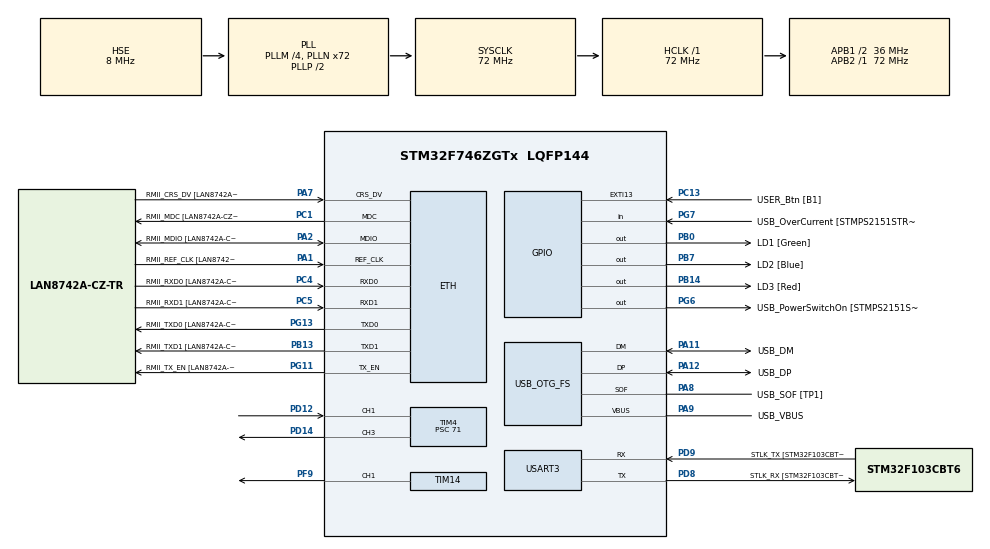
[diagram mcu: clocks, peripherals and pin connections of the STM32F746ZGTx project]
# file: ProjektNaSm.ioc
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ETH.MediaInterface=HAL_ETH_RMII_MODE
ETH.PHY_Name=LAN8742A_PHY_ADDRESS
ETH.PHY_Value=0
ETH.PhyAddress=0
Mcu.Family=STM32F7
Mcu.Name=STM32F746ZGTx
Mcu.Package=LQFP144
NVIC.PriorityGroup=NVIC_PRIORITYGROUP_4
NVIC.TIM4_IRQn=true\:0\:0\:false\:false\:true\:true\:true\:true
NVIC.TIM8_TRG_COM_TIM14_IRQn=true\:0\:0\:false\:false\:true\:true\:true\:true
NVIC.USART3_IRQn=true\:0\:0\:false\:false\:true\:true\:true\:true
PA1.GPIO_Label=RMII_REF_CLK [LAN8742A-CZ-TR_REFCLK0]
PA1.Mode=RMII
PA1.Signal=ETH_REF_CLK
PA10.GPIO_Label=USB_ID
PA10.Signal=USB_OTG_FS_ID
PA11.GPIO_Label=USB_DM
PA11.Mode=Device_Only
PA11.Signal=USB_OTG_FS_DM
PA12.GPIO_Label=USB_DP
PA12.Mode=Device_Only
PA12.Signal=USB_OTG_FS_DP
PA13.GPIO_Label=TMS
PA13.Mode=Serial_Wire
PA13.Signal=SYS_JTMS-SWDIO
PA14.GPIO_Label=TCK
PA14.Mode=Serial_Wire
PA14.Signal=SYS_JTCK-SWCLK
PA2.GPIO_Label=RMII_MDIO [LAN8742A-CZ-TR_MDIO]
PA2.Mode=RMII
PA2.Signal=ETH_MDIO
PA7.GPIO_Label=RMII_CRS_DV [LAN8742A-CZ-TR_CRS_DV]
PA7.Mode=RMII
PA7.Signal=ETH_CRS_DV
PA8.GPIO_Label=USB_SOF [TP1]
PA8.Mode=Activate_SOF_FS
PA8.Signal=USB_OTG_FS_SOF
PA9.GPIO_Label=USB_VBUS
PA9.Mode=Activate_VBUS
PA9.Signal=USB_OTG_FS_VBUS
PB0.GPIO_Label=LD1 [Green]
PB0.Signal=GPIO_Output
PB13.GPIO_Label=RMII_TXD1 [LAN8742A-CZ-TR_TXD1]
PB13.Mode=RMII
PB13.Signal=ETH_TXD1
PB14.GPIO_Label=LD3 [Red]
PB14.Signal=GPIO_Output
PB3.GPIO_Label=SW0
PB3.Signal=SYS_JTDO-SWO
PB7.GPIO_Label=LD2 [Blue]
PB7.Signal=GPIO_Output
PC1.GPIO_Label=RMII_MDC [LAN8742A-CZ-TR_MDC]
PC1.Mode=RMII
PC1.Signal=ETH_MDC
PC13.GPIO_Label=USER_Btn [B1]
PC13.Signal=GPXTI13
PC14/OSC32_IN.Mode=LSE-External-Oscillator
PC14/OSC32_IN.Signal=RCC_OSC32_IN
PC15/OSC32_OUT.Mode=LSE-External-Oscillator
PC15/OSC32_OUT.Signal=RCC_OSC32_OUT
PC4.GPIO_Label=RMII_RXD0 [LAN8742A-CZ-TR_RXD0]
PC4.Mode=RMII
PC4.Signal=ETH_RXD0
PC5.GPIO_Label=RMII_RXD1 [LAN8742A-CZ-TR_RXD1]
PC5.Mode=RMII
PC5.Signal=ETH_RXD1
PD12.Signal=S_TIM4_CH1
PD14.Signal=S_TIM4_CH3
PD8.GPIO_Label=STLK_RX [STM32F103CBT6_PA3]
PD8.GPIO_PuPd=GPIO_PULLUP
PD8.Mode=Asynchronous
PD8.Signal=USART3_TX
PD9.GPIO_Label=STLK_TX [STM32F103CBT6_PA2]
PD9.GPIO_PuPd=GPIO_PULLUP
PD9.Mode=Asynchronous
PD9.Signal=USART3_RX
PF9.Signal=S_TIM14_CH1
PG11.GPIO_Label=RMII_TX_EN [LAN8742A-CZ-TR_TXEN]
PG11.Mode=RMII
PG11.Signal=ETH_TX_EN
PG13.GPIO_Label=RMII_TXD0 [LAN8742A-CZ-TR_TXD0]
PG13.Mode=RMII
PG13.Signal=ETH_TXD0
PG6.GPIO_Label=USB_PowerSwitchOn [STMPS2151STR_EN]
PG6.Signal=GPIO_Output
PG7.GPIO_Label=USB_OverCurrent [STMPS2151STR_FAULT]
PG7.Signal=GPIO_Input
PH0/OSC_IN.GPIO_Label=MCO [STM32F103CBT6_PA8]
PH0/OSC_IN.Mode=HSE-External-Clock-Source
PH0/OSC_IN.Signal=RCC_OSC_IN
PH1/OSC_OUT.Mode=HSE-External-Clock-Source
PH1/OSC_OUT.Signal=RCC_OSC_OUT
ProjectManager.HeapSize=0x200
ProjectManager.StackSize=0x400
ProjectManager.TargetToolchain=STM32CubeIDE
RCC.48MHZClocksFreq_Value=24000000
RCC.AHBFreq_Value=72000000
RCC.APB1CLKDivider=RCC_HCLK_DIV2
RCC.APB1Freq_Value=36000000
RCC.APB1TimFreq_Value=72000000
RCC.APB2Freq_Value=72000000
RCC.APB2TimFreq_Value=72000000
RCC.CortexFreq_Value=72000000
RCC.HCLKFreq_Value=72000000
RCC.HSE_VALUE=8000000
RCC.HSI_VALUE=16000000
RCC.PLLM=4
RCC.PLLMUL=RCC_PLL_MUL9
RCC.PLLN=72
RCC.PLLQ=3
RCC.PRESCALERUSB=RCC_USBCLKSOURCE_PLL_DIV1_5
RCC.SYSCLKFreq_VALUE=72000000
RCC.SYSCLKSource=RCC_SYSCLKSOURCE_PLLCLK
RCC.SYSCLKSourceVirtual=RCC_SYSCLKSOURCE_PLLCLK
RCC.USBFreq_Value=48000000
RCC.VCOOutputFreq_Value=144000000
SH.S_TIM14_CH1.0=TIM14_CH1,PWM Generation1 CH1
SH.S_TIM4_CH1.0=TIM4_CH1,Input_Capture1_from_TI1
SH.S_TIM4_CH3.0=TIM4_CH3,PWM Generation3 CH3
TIM14.AutoReloadPreload=TIM_AUTORELOAD_PRELOAD_ENABLE
TIM14.Channel=TIM_CHANNEL_1
TIM14.Period=19999
TIM14.Prescaler=71
TIM4.Channel-Input_Capture1_from_TI1=TIM_CHANNEL_1
TIM4.Channel-Input_Capture2_from_TI1_63=TIM_CHANNEL_2
TIM4.Channel-PWM\ Generation3\ CH3=TIM_CHANNEL_3
TIM4.ICPolarity_CH1=TIM_INPUTCHANNELPOLARITY_RISING
TIM4.ICPolarity_CH2=TIM_INPUTCHANNELPOLARITY_FALLING
TIM4.Period=63999
TIM4.Prescaler=71
TIM4.Pulse-PWM\ Generation3\ CH3=4
USART3.VirtualMode-Asynchronous=VM_ASYNC
USB_OTG_FS.VirtualMode=Device_Only
VP_TIM14_VS_ClockSourceINT.Mode=Enable_Timer
VP_TIM4_VS_ClockSourceINT.Mode=Internal
VP_TIM4_VS_indirect_ch1.Mode=Input_Capture2_from_TI1_63
board=NUCLEO-F746ZG

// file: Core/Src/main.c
/* USER CODE BEGIN Header */
/**
  ******************************************************************************
  * @file           : main.c
  * @brief          : Main program body
  ******************************************************************************
  * @attention
  *
  * Copyright (c) 2023 STMicroelectronics.
  * All rights reserved.
  *
  * This software is licensed under terms that can be found in the LICENSE file
  * in the root directory of this software component.
  * If no LICENSE file comes with this software, it is provided AS-IS.
  *
  ******************************************************************************
  */
/* USER CODE END Header */
#include "main.h"
#include "string.h"
#include <stdio.h>
#include "SensorController.h"

#if defined ( __ICCARM__ ) /*!< IAR Compiler */
#pragma location=0x2004c000
ETH_DMADescTypeDef  DMARxDscrTab[ETH_RX_DESC_CNT]; /* Ethernet Rx DMA Descriptors */
#pragma location=0x2004c0a0
ETH_DMADescTypeDef  DMATxDscrTab[ETH_TX_DESC_CNT]; /* Ethernet Tx DMA Descriptors */

#elif defined ( __CC_ARM )  /* MDK ARM Compiler */

__attribute__((at(0x2004c000))) ETH_DMADescTypeDef  DMARxDscrTab[ETH_RX_DESC_CNT]; /* Ethernet Rx DMA Descriptors */
__attribute__((at(0x2004c0a0))) ETH_DMADescTypeDef  DMATxDscrTab[ETH_TX_DESC_CNT]; /* Ethernet Tx DMA Descriptors */

#elif defined ( __GNUC__ ) /* GNU Compiler */
ETH_DMADescTypeDef DMARxDscrTab[ETH_RX_DESC_CNT] __attribute__((section(".RxDecripSection"))); /* Ethernet Rx DMA Descriptors */
ETH_DMADescTypeDef DMATxDscrTab[ETH_TX_DESC_CNT] __attribute__((section(".TxDecripSection")));   /* Ethernet Tx DMA Descriptors */

#endif

ETH_TxPacketConfig TxConfig;

ETH_HandleTypeDef heth;

TIM_HandleTypeDef htim4;
TIM_HandleTypeDef htim14;

UART_HandleTypeDef huart3;

PCD_HandleTypeDef hpcd_USB_OTG_FS;

void SystemClock_Config(void);
static void MX_GPIO_Init(void);
static void MX_ETH_Init(void);
static void MX_USART3_UART_Init(void);
static void MX_USB_OTG_FS_PCD_Init(void);
static void MX_TIM4_Init(void);
static void MX_TIM14_Init(void);
/* USER CODE BEGIN PFP */
//ustawienia do filtra////////////////////////////
#define NUM_READINGS 10
#define MIN_VALID_VALUE 2
#define MAX_VALID_VALUE 60
SensorController sensorController;
int readIndex = 0;
uint32_t readings[NUM_READINGS];
uint32_t total = 0;
uint32_t average = 0;
char tablica[10];

//Obsluga serwomechanizmu////////////////////////////////

#define MIN_PULSE_WIDTH 600   // Minimalna szerokość impulsu
#define MAX_PULSE_WIDTH 1800  // Maksymalna szerokość impulsu

#define RX_BUFFER_SIZE 50  // Ustaw rozmiar bufora zgodnie z oczekiwaniami

char rxBuffer[RX_BUFFER_SIZE];
uint32_t rxIndex = 0;

void HAL_UART_RxCpltCallback(UART_HandleTypeDef *huart) {
    SensorController_HAL_UART_RxCpltCallback(&sensorController, huart);
}

// Funkcja przetwarzająca odebrane dane

// Funkcja do przetwarzania przychodzących danych

/* USER CODE END PFP */

/* USER CODE BEGIN 0 */
float pidprocces;
float nowaw;
/* USER CODE END 0 */

int main(void)
{

  /* MCU Configuration--------------------------------------------------------*/

  /* Reset of all peripherals, Initializes the Flash interface and the Systick. */
	HAL_Init();
	SystemClock_Config();
	MX_GPIO_Init();
	MX_ETH_Init();
	MX_USART3_UART_Init();
	MX_USB_OTG_FS_PCD_Init();
	MX_TIM4_Init();
	MX_TIM14_Init();

	SensorController_Init(&sensorController, &htim4, &htim14, &huart3);
	HAL_TIM_Base_Start_IT(&htim4);
	HAL_TIM_IC_Start(&htim4, TIM_CHANNEL_1);
	HAL_TIM_IC_Start(&htim4, TIM_CHANNEL_2);
	HAL_TIM_PWM_Start(&htim4, TIM_CHANNEL_3);
	HAL_TIM_PWM_Start(&htim14, TIM_CHANNEL_1);
	HAL_UART_Receive_IT(&huart3, (uint8_t*)&rxBuffer, 1);

  /* USER CODE END 2 */

  /* Infinite loop */
  /* USER CODE BEGIN WHILE */
  while (1)
  {
	  SensorController_Update(&sensorController);
	  SensorController_ProcessPID(&sensorController);
	  SensorController_SendDataOverUART(&sensorController);
	  HAL_Delay(1);

	  /*
	   * 	  nowaw=czujnik();
	  pidprocces=pidController(24, nowaw);
	  setServoPWMFromPID(pidprocces);
	  lastTime=HAL_GetTick();
	  SendDataOverUART(nowaw, pidprocces);
	  HAL_Delay(1);
	   *   	czujnik();
  		pidprocces=pidController(20, value);
  		setServoPWMFromPID(pidprocces);
  		HAL_Delay(10);
	  __HAL_TIM_SET_COMPARE(&htim14, TIM_CHANNEL_1, 2000);
	  HAL_Delay(1000);
	  __HAL_TIM_SET_COMPARE(&htim14, TIM_CHANNEL_1, 500);
	  HAL_Delay(1000);
	  */
    /* USER CODE END WHILE */

  }
}

void SystemClock_Config(void)
{
  RCC_OscInitTypeDef RCC_OscInitStruct = {0};
  RCC_ClkInitTypeDef RCC_ClkInitStruct = {0};

  /** Configure LSE Drive Capability
  */
  HAL_PWR_EnableBkUpAccess();

  /** Configure the main internal regulator output voltage
  */
  __HAL_RCC_PWR_CLK_ENABLE();
  __HAL_PWR_VOLTAGESCALING_CONFIG(PWR_REGULATOR_VOLTAGE_SCALE3);

  /** Initializes the RCC Oscillators according to the specified parameters
  * in the RCC_OscInitTypeDef structure.
  */
  RCC_OscInitStruct.OscillatorType = RCC_OSCILLATORTYPE_HSE;
  RCC_OscInitStruct.HSEState = RCC_HSE_BYPASS;
  RCC_OscInitStruct.PLL.PLLState = RCC_PLL_ON;
  RCC_OscInitStruct.PLL.PLLSource = RCC_PLLSOURCE_HSE;
  RCC_OscInitStruct.PLL.PLLM = 4;
  RCC_OscInitStruct.PLL.PLLN = 72;
  RCC_OscInitStruct.PLL.PLLP = RCC_PLLP_DIV2;
  RCC_OscInitStruct.PLL.PLLQ = 3;
  if (HAL_RCC_OscConfig(&RCC_OscInitStruct) != HAL_OK)
  {
    Error_Handler();
  }

  /** Initializes the CPU, AHB and APB buses clocks
  */
  RCC_ClkInitStruct.ClockType = RCC_CLOCKTYPE_HCLK|RCC_CLOCKTYPE_SYSCLK
                              |RCC_CLOCKTYPE_PCLK1|RCC_CLOCKTYPE_PCLK2;
  RCC_ClkInitStruct.SYSCLKSource = RCC_SYSCLKSOURCE_PLLCLK;
  RCC_ClkInitStruct.AHBCLKDivider = RCC_SYSCLK_DIV1;
  RCC_ClkInitStruct.APB1CLKDivider = RCC_HCLK_DIV2;
  RCC_ClkInitStruct.APB2CLKDivider = RCC_HCLK_DIV1;

  if (HAL_RCC_ClockConfig(&RCC_ClkInitStruct, FLASH_LATENCY_2) != HAL_OK)
  {
    Error_Handler();
  }
}

static void MX_ETH_Init(void)
{

   static uint8_t MACAddr[6];

  heth.Instance = ETH;
  MACAddr[0] = 0x00;
  MACAddr[1] = 0x80;
  MACAddr[2] = 0xE1;
  MACAddr[3] = 0x00;
  MACAddr[4] = 0x00;
  MACAddr[5] = 0x00;
  heth.Init.MACAddr = &MACAddr[0];
  heth.Init.MediaInterface = HAL_ETH_RMII_MODE;
  heth.Init.TxDesc = DMATxDscrTab;
  heth.Init.RxDesc = DMARxDscrTab;
  heth.Init.RxBuffLen = 1524;

  if (HAL_ETH_Init(&heth) != HAL_OK)
  {
    Error_Handler();
  }

  memset(&TxConfig, 0 , sizeof(ETH_TxPacketConfig));
  TxConfig.Attributes = ETH_TX_PACKETS_FEATURES_CSUM | ETH_TX_PACKETS_FEATURES_CRCPAD;
  TxConfig.ChecksumCtrl = ETH_CHECKSUM_IPHDR_PAYLOAD_INSERT_PHDR_CALC;
  TxConfig.CRCPadCtrl = ETH_CRC_PAD_INSERT;

}

static void MX_TIM4_Init(void)
{

  TIM_ClockConfigTypeDef sClockSourceConfig = {0};
  TIM_MasterConfigTypeDef sMasterConfig = {0};
  TIM_IC_InitTypeDef sConfigIC = {0};
  TIM_OC_InitTypeDef sConfigOC = {0};

  htim4.Instance = TIM4;
  htim4.Init.Prescaler = 71;
  htim4.Init.CounterMode = TIM_COUNTERMODE_UP;
  htim4.Init.Period = 63999;
  htim4.Init.ClockDivision = TIM_CLOCKDIVISION_DIV1;
  htim4.Init.AutoReloadPreload = TIM_AUTORELOAD_PRELOAD_DISABLE;
  if (HAL_TIM_Base_Init(&htim4) != HAL_OK)
  {
    Error_Handler();
  }
  sClockSourceConfig.ClockSource = TIM_CLOCKSOURCE_INTERNAL;
  if (HAL_TIM_ConfigClockSource(&htim4, &sClockSourceConfig) != HAL_OK)
  {
    Error_Handler();
  }
  if (HAL_TIM_IC_Init(&htim4) != HAL_OK)
  {
    Error_Handler();
  }
  if (HAL_TIM_PWM_Init(&htim4) != HAL_OK)
  {
    Error_Handler();
  }
  sMasterConfig.MasterOutputTrigger = TIM_TRGO_RESET;
  sMasterConfig.MasterSlaveMode = TIM_MASTERSLAVEMODE_DISABLE;
  if (HAL_TIMEx_MasterConfigSynchronization(&htim4, &sMasterConfig) != HAL_OK)
  {
    Error_Handler();
  }
  sConfigIC.ICPolarity = TIM_INPUTCHANNELPOLARITY_RISING;
  sConfigIC.ICSelection = TIM_ICSELECTION_DIRECTTI;
  sConfigIC.ICPrescaler = TIM_ICPSC_DIV1;
  sConfigIC.ICFilter = 0;
  if (HAL_TIM_IC_ConfigChannel(&htim4, &sConfigIC, TIM_CHANNEL_1) != HAL_OK)
  {
    Error_Handler();
  }
  sConfigIC.ICPolarity = TIM_INPUTCHANNELPOLARITY_FALLING;
  sConfigIC.ICSelection = TIM_ICSELECTION_INDIRECTTI;
  if (HAL_TIM_IC_ConfigChannel(&htim4, &sConfigIC, TIM_CHANNEL_2) != HAL_OK)
  {
    Error_Handler();
  }
  sConfigOC.OCMode = TIM_OCMODE_PWM1;
  sConfigOC.Pulse = 4;
  sConfigOC.OCPolarity = TIM_OCPOLARITY_HIGH;
  sConfigOC.OCFastMode = TIM_OCFAST_DISABLE;
  if (HAL_TIM_PWM_ConfigChannel(&htim4, &sConfigOC, TIM_CHANNEL_3) != HAL_OK)
  {
    Error_Handler();
  }
  HAL_TIM_MspPostInit(&htim4);

}

static void MX_TIM14_Init(void)
{

  TIM_OC_InitTypeDef sConfigOC = {0};

  htim14.Instance = TIM14;
  htim14.Init.Prescaler = 71;
  htim14.Init.CounterMode = TIM_COUNTERMODE_UP;
  htim14.Init.Period = 19999;
  htim14.Init.ClockDivision = TIM_CLOCKDIVISION_DIV1;
  htim14.Init.AutoReloadPreload = TIM_AUTORELOAD_PRELOAD_ENABLE;
  if (HAL_TIM_Base_Init(&htim14) != HAL_OK)
  {
    Error_Handler();
  }
  if (HAL_TIM_PWM_Init(&htim14) != HAL_OK)
  {
    Error_Handler();
  }
  sConfigOC.OCMode = TIM_OCMODE_PWM1;
  sConfigOC.Pulse = 0;
  sConfigOC.OCPolarity = TIM_OCPOLARITY_HIGH;
  sConfigOC.OCFastMode = TIM_OCFAST_DISABLE;
  if (HAL_TIM_PWM_ConfigChannel(&htim14, &sConfigOC, TIM_CHANNEL_1) != HAL_OK)
  {
    Error_Handler();
  }
  HAL_TIM_MspPostInit(&htim14);

}

static void MX_USART3_UART_Init(void)
{

  huart3.Instance = USART3;
  huart3.Init.BaudRate = 115200;
  huart3.Init.WordLength = UART_WORDLENGTH_8B;
  huart3.Init.StopBits = UART_STOPBITS_1;
  huart3.Init.Parity = UART_PARITY_NONE;
  huart3.Init.Mode = UART_MODE_TX_RX;
  huart3.Init.HwFlowCtl = UART_HWCONTROL_NONE;
  huart3.Init.OverSampling = UART_OVERSAMPLING_16;
  huart3.Init.OneBitSampling = UART_ONE_BIT_SAMPLE_DISABLE;
  huart3.AdvancedInit.AdvFeatureInit = UART_ADVFEATURE_NO_INIT;
  if (HAL_UART_Init(&huart3) != HAL_OK)
  {
    Error_Handler();
  }

}

static void MX_USB_OTG_FS_PCD_Init(void)
{

  hpcd_USB_OTG_FS.Instance = USB_OTG_FS;
  hpcd_USB_OTG_FS.Init.dev_endpoints = 6;
  hpcd_USB_OTG_FS.Init.speed = PCD_SPEED_FULL;
  hpcd_USB_OTG_FS.Init.dma_enable = DISABLE;
  hpcd_USB_OTG_FS.Init.phy_itface = PCD_PHY_EMBEDDED;
  hpcd_USB_OTG_FS.Init.Sof_enable = ENABLE;
  hpcd_USB_OTG_FS.Init.low_power_enable = DISABLE;
  hpcd_USB_OTG_FS.Init.lpm_enable = DISABLE;
  hpcd_USB_OTG_FS.Init.vbus_sensing_enable = ENABLE;
  hpcd_USB_OTG_FS.Init.use_dedicated_ep1 = DISABLE;
  if (HAL_PCD_Init(&hpcd_USB_OTG_FS) != HAL_OK)
  {
    Error_Handler();
  }

}

static void MX_GPIO_Init(void)
{
  GPIO_InitTypeDef GPIO_InitStruct = {0};

  /* GPIO Ports Clock Enable */
  __HAL_RCC_GPIOC_CLK_ENABLE();
  __HAL_RCC_GPIOF_CLK_ENABLE();
  __HAL_RCC_GPIOH_CLK_ENABLE();
  __HAL_RCC_GPIOA_CLK_ENABLE();
  __HAL_RCC_GPIOB_CLK_ENABLE();
  __HAL_RCC_GPIOD_CLK_ENABLE();
  __HAL_RCC_GPIOG_CLK_ENABLE();

  /*Configure GPIO pin Output Level */
  HAL_GPIO_WritePin(GPIOB, LD1_Pin|LD3_Pin|LD2_Pin, GPIO_PIN_RESET);

  /*Configure GPIO pin Output Level */
  HAL_GPIO_WritePin(USB_PowerSwitchOn_GPIO_Port, USB_PowerSwitchOn_Pin, GPIO_PIN_RESET);

  /*Configure GPIO pin : USER_Btn_Pin */
  GPIO_InitStruct.Pin = USER_Btn_Pin;
  GPIO_InitStruct.Mode = GPIO_MODE_IT_RISING;
  GPIO_InitStruct.Pull = GPIO_NOPULL;
  HAL_GPIO_Init(USER_Btn_GPIO_Port, &GPIO_InitStruct);

  /*Configure GPIO pins : LD1_Pin LD3_Pin LD2_Pin */
  GPIO_InitStruct.Pin = LD1_Pin|LD3_Pin|LD2_Pin;
  GPIO_InitStruct.Mode = GPIO_MODE_OUTPUT_PP;
  GPIO_InitStruct.Pull = GPIO_NOPULL;
  GPIO_InitStruct.Speed = GPIO_SPEED_FREQ_LOW;
  HAL_GPIO_Init(GPIOB, &GPIO_InitStruct);

  /*Configure GPIO pin : USB_PowerSwitchOn_Pin */
  GPIO_InitStruct.Pin = USB_PowerSwitchOn_Pin;
  GPIO_InitStruct.Mode = GPIO_MODE_OUTPUT_PP;
  GPIO_InitStruct.Pull = GPIO_NOPULL;
  GPIO_InitStruct.Speed = GPIO_SPEED_FREQ_LOW;
  HAL_GPIO_Init(USB_PowerSwitchOn_GPIO_Port, &GPIO_InitStruct);

  /*Configure GPIO pin : USB_OverCurrent_Pin */
  GPIO_InitStruct.Pin = USB_OverCurrent_Pin;
  GPIO_InitStruct.Mode = GPIO_MODE_INPUT;
  GPIO_InitStruct.Pull = GPIO_NOPULL;
  HAL_GPIO_Init(USB_OverCurrent_GPIO_Port, &GPIO_InitStruct);

}

void Error_Handler(void)
{
  __disable_irq();
  while (1)
  {
  }
}
